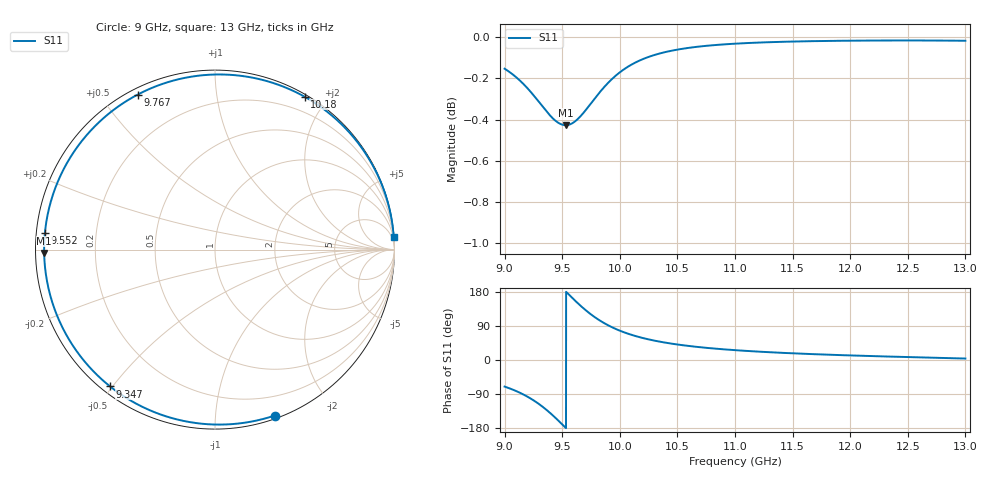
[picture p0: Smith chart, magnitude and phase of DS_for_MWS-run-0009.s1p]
! TOUCHSTONE file generated by CST DESIGN STUDIO
! Date and time: Tue Feb  4 14:09:37 2025
! Project name: C:\Work\MatlabApps\UnitCellOptimizationMatlab\CST\unitcell.cst
! Tree item: Tasks\Sweep1\SPara1\S-Parameters
! Header version: 2024
! Port assignment regex: !\s*Touchstone port\s*([0-9]+)\s*=\s*(CST MWS port|CST DES external port|CST DES block port)\s*(.+)\s* \(\"(.*)\"\)(\s*mode\s*([0-9]+))?.*
! Touchstone port assignment:
! Touchstone port 1 = CST DES external port 1 ("")
# GHz S MA R 50
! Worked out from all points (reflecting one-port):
!   4001 points, 9 GHz to 13 GHz, reference 50 ohm
!   lowest |S11| = -0.4 dB at 9.53 GHz (marker M1), VSWR 40.70, Z = 1.23 - j0.476 ohm
!   phase of S11 starts at -70 deg and turns -286 deg over the sweep
!   S11 on the Smith chart (normalised r, x): 9 GHz: 0.03, -1.42; 9.347 GHz: 0.02, -0.49; 9.552 GHz: 0.02, +0.05; 9.767 GHz: 0.02, +0.62; 10.18 GHz: 0.03, +1.74; 13 GHz: 1, +29
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9  0.9826 -70.2
9.098  0.9781 -81.6
9.205  0.9715 -97.9
9.28  0.9659 -112.3
9.347  0.9607 -127.5
9.419  0.9556 -146.3
9.461  0.9535 -158.3
9.5  0.9523 -169.8
9.53  0.952 -178.9
9.552  0.9522 174.4
9.605  0.9538 158.6
9.665  0.9572 141.6
9.716  0.961 128.4
9.767  0.9651 116.5
9.816  0.969 106.2
9.869  0.9729 96.5
9.934  0.9771 86.2
10  0.9806 77.4
10.086  0.9843 67.9
10.179  0.9873 59.6
10.325  0.9906 49.6
10.5  0.9932 40.9
10.721  0.9951 33.0
11  0.9965 26.0
11.5  0.9977 17.7
12  0.9981 12.1
12.5  0.9983 7.7
13  0.9981 3.9
